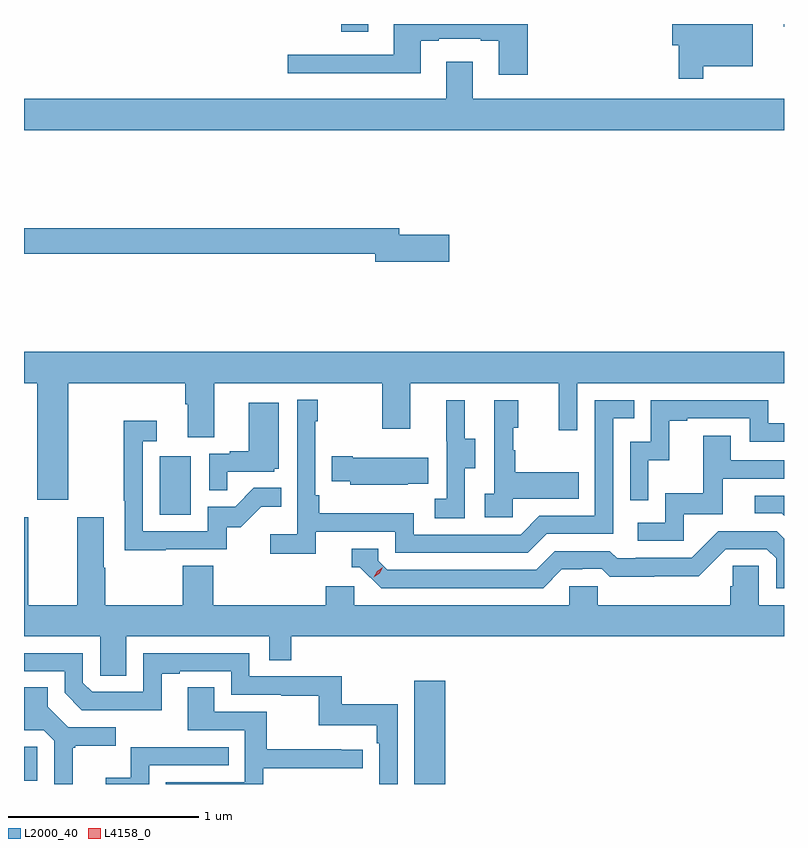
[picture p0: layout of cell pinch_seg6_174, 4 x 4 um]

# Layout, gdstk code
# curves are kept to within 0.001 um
import gdstk
lib = gdstk.Library(unit=1e-6, precision=1e-09)
def R(c, l, rs):  # rectangles x0, y0, x1, y1
    for r in rs: c.add(gdstk.rectangle(r[:2], r[2:], *l))
def P(c, l, *ps):  # polygons
    for p in ps: c.add(gdstk.Polygon(p, *l))
L2000_40 = (2000, 40)
L4158_0 = (4158, 0)

pinch_seg6_174 = lib.new_cell('pinch_seg6_174')
R(pinch_seg6_174, L2000_40, [(1034.237,926.578,1034.398,927.121), (1032.182,926.595,1032.252,926.775), (1032.896,927.996,1033.06,928.303), (1033.853,930.537,1033.993,930.578), (1036.181,930.563,1036.182,930.578)])
P(pinch_seg6_174, L2000_40, [(1034.834,930.578),(1034.129,930.578),(1034.129,930.417),(1033.569,930.417),(1033.569,930.32),(1034.269,930.32),(1034.269,930.489),(1034.365,930.489),(1034.365,930.501),(1034.585,930.501),(1034.585,930.489),(1034.681,930.489),(1034.681,930.312),(1034.834,930.312)],
  [(1035.757,930.356),(1036.018,930.356),(1036.018,930.578),(1035.594,930.578),(1035.594,930.467),(1035.628,930.467),(1035.628,930.291),(1035.757,930.291)],
  [(1036.182,930.184),(1034.545,930.184),(1034.545,930.379),(1034.405,930.379),(1034.405,930.184),(1032.182,930.184),(1032.182,930.02),(1036.182,930.02)],
  [(1034.419,929.468),(1034.158,929.468),(1034.158,929.504),(1032.182,929.504),(1032.182,929.368),(1034.03,929.368),(1034.03,929.326),(1034.419,929.326)],
  [(1032.415,928.688),(1033.031,928.688),(1033.031,928.576),(1033.043,928.576),(1033.043,928.402),(1033.183,928.402),(1033.183,928.688),(1034.068,928.688),(1034.068,928.449),(1034.215,928.449),(1034.215,928.688),(1034.996,928.688),(1034.996,928.44),(1035.093,928.44),(1035.093,928.688),(1036.182,928.688),(1036.182,928.852),(1032.182,928.852),(1032.182,928.688),(1032.251,928.688),(1032.251,928.074),(1032.415,928.074)],
  [(1033.718,927.906),(1034.136,927.906),(1034.136,927.795),(1034.833,927.795),(1034.932,927.894),(1035.282,927.894),(1035.282,928.503),(1035.395,928.503),(1035.395,928.599),(1035.186,928.599),(1035.186,927.99),(1034.895,927.99),(1034.796,927.891),(1034.232,927.891),(1034.232,928.003),(1033.736,928.003),(1033.736,928.099),(1033.716,928.099),(1033.716,928.487),(1033.728,928.487),(1033.728,928.6),(1033.62,928.6),(1033.62,927.892),(1033.478,927.892),(1033.478,927.79),(1033.718,927.79)],
  [(1035.468,928.283),(1035.578,928.283),(1035.578,928.491),(1035.673,928.491),(1035.673,928.503),(1036.002,928.503),(1036.002,928.38),(1036.182,928.38),(1036.182,928.476),(1036.098,928.476),(1036.098,928.599),(1035.48,928.599),(1035.48,928.38),(1035.372,928.38),(1035.372,928.071),(1035.468,928.071)],
  [(1034.754,928.079),(1035.101,928.079),(1035.101,928.219),(1034.767,928.219),(1034.767,928.334),(1034.757,928.334),(1034.757,928.452),(1034.782,928.452),(1034.782,928.597),(1034.658,928.597),(1034.658,928.106),(1034.607,928.106),(1034.607,927.981),(1034.754,927.981)],
  [(1034.502,928.24),(1034.557,928.24),(1034.557,928.395),(1034.503,928.395),(1034.503,928.597),(1034.405,928.597),(1034.405,928.383),(1034.406,928.383),(1034.406,928.079),(1034.343,928.079),(1034.343,927.976),(1034.502,927.976)],
  [(1033.253,928.221),(1033.5,928.221),(1033.5,928.236),(1033.522,928.236),(1033.522,928.585),(1033.364,928.585),(1033.364,928.33),(1033.265,928.33),(1033.265,928.317),(1033.158,928.317),(1033.158,928.123),(1033.253,928.123)],
  [(1032.929,927.813),(1033.248,927.813),(1033.248,927.93),(1033.324,927.93),(1033.431,928.037),(1033.535,928.037),(1033.535,928.136),(1033.391,928.136),(1033.293,928.038),(1033.149,928.038),(1033.149,927.909),(1032.807,927.909),(1032.807,928.383),(1032.88,928.383),(1032.88,928.489),(1032.706,928.489),(1032.706,928.069),(1032.711,928.069),(1032.711,927.808),(1032.929,927.808)],
  [(1035.654,927.999),(1035.859,927.999),(1035.859,928.185),(1036.182,928.185),(1036.182,928.281),(1035.901,928.281),(1035.901,928.411),(1035.757,928.411),(1035.757,928.108),(1035.558,928.108),(1035.558,927.954),(1035.411,927.954),(1035.411,927.858),(1035.654,927.858)],
  [(1034.201,928.157),(1034.309,928.157),(1034.309,928.294),(1033.912,928.294),(1033.912,928.302),(1033.801,928.302),(1033.801,928.172),(1033.899,928.172),(1033.899,928.154),(1034.201,928.154)],
  [(1036.182,928.095),(1036.029,928.095),(1036.029,928.002),(1036.17,928.002),(1036.182,927.99)],
  [(1035.013,927.708),(1035.12,927.708),(1035.12,927.711),(1035.223,927.711),(1035.265,927.669),(1035.498,927.669),(1035.498,927.671),(1035.734,927.671),(1035.876,927.813),(1036.092,927.813),(1036.14,927.765),(1036.14,927.609),(1036.182,927.609),(1036.182,927.87),(1036.143,927.909),(1035.837,927.909),(1035.696,927.768),(1035.403,927.768),(1035.403,927.765),(1035.304,927.765),(1035.265,927.804),(1034.976,927.804),(1034.877,927.705),(1034.094,927.705),(1034.046,927.753),(1034.046,927.816),(1033.907,927.816),(1033.907,927.72),(1033.95,927.72),(1034.061,927.609),(1034.914,927.609)],
  [(1035.913,927.728),(1035.913,927.618),(1035.899,927.618),(1035.899,927.52),(1035.201,927.52),(1035.201,927.618),(1035.051,927.618),(1035.051,927.52),(1033.92,927.52),(1033.92,927.618),(1033.769,927.618),(1033.769,927.52),(1033.178,927.52),(1033.178,927.728),(1033.018,927.728),(1033.018,927.52),(1032.609,927.52),(1032.609,927.716),(1032.601,927.716),(1032.601,927.982),(1032.461,927.982),(1032.461,927.52),(1032.205,927.52),(1032.205,927.982),(1032.182,927.982),(1032.182,927.356),(1032.582,927.356),(1032.582,927.148),(1032.721,927.148),(1032.721,927.356),(1033.473,927.356),(1033.473,927.229),(1033.589,927.229),(1033.589,927.356),(1036.182,927.356),(1036.182,927.52),(1036.05,927.52),(1036.05,927.728)],
  [(1034.148,926.998),(1033.855,926.998),(1033.855,927.144),(1033.368,927.144),(1033.368,927.267),(1032.81,927.267),(1032.81,927.063),(1032.54,927.063),(1032.492,927.111),(1032.492,927.267),(1032.182,927.267),(1032.182,927.171),(1032.396,927.171),(1032.396,927.057),(1032.486,926.967),(1032.907,926.966),(1032.907,927.159),(1033.003,927.159),(1033.003,927.171),(1033.272,927.171),(1033.272,927.048),(1033.537,927.048),(1033.537,927.043),(1033.734,927.043),(1033.734,926.888),(1034.039,926.888),(1034.039,926.792),(1034.052,926.792),(1034.052,926.578),(1034.148,926.578)],
  [(1032.439,926.769),(1032.451,926.769),(1032.451,926.78),(1032.664,926.78),(1032.664,926.877),(1032.414,926.877),(1032.307,926.984),(1032.307,927.086),(1032.182,927.086),(1032.182,926.862),(1032.285,926.862),(1032.342,926.805),(1032.342,926.578),(1032.439,926.578)],
  [(1033.44,926.661),(1033.966,926.661),(1033.966,926.757),(1033.853,926.757),(1033.853,926.762),(1033.46,926.762),(1033.46,926.958),(1033.183,926.958),(1033.183,927.086),(1033.043,927.086),(1033.043,926.862),(1033.344,926.862),(1033.344,926.586),(1032.928,926.586),(1032.928,926.578),(1033.44,926.578)],
  [(1032.84,926.676),(1033.259,926.676),(1033.259,926.772),(1032.744,926.772),(1032.744,926.611),(1032.611,926.611),(1032.611,926.578),(1032.84,926.578)])
P(pinch_seg6_174, L4158_0, [(1034.023,927.667),(1034.023,927.667),(1034.04,927.699),(1034.07,927.719),(1034.071,927.719),(1034.071,927.718),(1034.054,927.686),(1034.023,927.667)])

lib.write_gds('pinch_seg6_174.gds')
